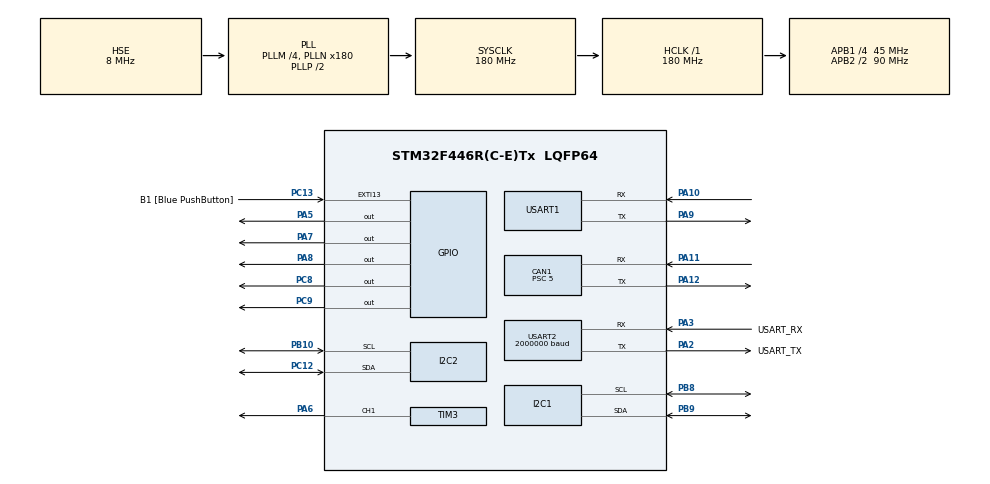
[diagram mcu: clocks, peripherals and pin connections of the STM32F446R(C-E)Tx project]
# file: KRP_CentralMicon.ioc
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CAN1.ABOM=ENABLE
CAN1.BS1=CAN_BS1_7TQ
CAN1.CalculateTimeQuantum=111.11111111111111
CAN1.NART=ENABLE
CAN1.Prescaler=5
CAN1.SJW=CAN_SJW_1TQ
CAN1.TXFP=ENABLE
Dma.Request0=USART2_RX
Dma.USART2_RX.0.Direction=DMA_PERIPH_TO_MEMORY
Dma.USART2_RX.0.FIFOMode=DMA_FIFOMODE_DISABLE
Dma.USART2_RX.0.Instance=DMA1_Stream5
Dma.USART2_RX.0.MemDataAlignment=DMA_MDATAALIGN_BYTE
Dma.USART2_RX.0.MemInc=DMA_MINC_ENABLE
Dma.USART2_RX.0.Mode=DMA_CIRCULAR
Dma.USART2_RX.0.PeriphDataAlignment=DMA_PDATAALIGN_BYTE
Dma.USART2_RX.0.PeriphInc=DMA_PINC_DISABLE
Dma.USART2_RX.0.Priority=DMA_PRIORITY_LOW
I2C2.I2C_Mode=I2C_Fast
Mcu.Family=STM32F4
Mcu.Name=STM32F446R(C-E)Tx
Mcu.Package=LQFP64
NVIC.CAN1_RX0_IRQn=true\:0\:2\:false\:false\:true\:true\:true
NVIC.CAN1_RX1_IRQn=true\:0\:2\:false\:false\:true\:true\:true
NVIC.CAN1_SCE_IRQn=true\:0\:0\:false\:false\:true\:true\:true
NVIC.DMA1_Stream5_IRQn=true\:0\:0\:false\:false\:true\:false\:true
NVIC.I2C1_ER_IRQn=true\:0\:0\:false\:false\:true\:true\:true
NVIC.I2C1_EV_IRQn=true\:0\:1\:false\:false\:true\:true\:true
NVIC.I2C2_EV_IRQn=true\:0\:0\:false\:false\:true\:true\:true
NVIC.PriorityGroup=NVIC_PRIORITYGROUP_0
NVIC.TIM3_IRQn=true\:0\:0\:false\:false\:true\:true\:true
NVIC.TIM6_DAC_IRQn=true\:0\:3\:false\:false\:true\:true\:true
NVIC.TIM7_IRQn=true\:0\:0\:false\:false\:true\:true\:true
NVIC.USART2_IRQn=true\:0\:0\:false\:false\:true\:true\:true
PA10.Mode=Asynchronous
PA10.Signal=USART1_RX
PA11.Mode=Master
PA11.Signal=CAN1_RX
PA12.Mode=Master
PA12.Signal=CAN1_TX
PA13.GPIO_Label=TMS
PA13.Mode=Serial_Wire
PA13.Signal=SYS_JTMS-SWDIO
PA14.GPIO_Label=TCK
PA14.Mode=Serial_Wire
PA14.Signal=SYS_JTCK-SWCLK
PA2.GPIO_Label=USART_TX
PA2.Mode=Asynchronous
PA2.Signal=USART2_TX
PA3.GPIO_Label=USART_RX
PA3.Mode=Asynchronous
PA3.Signal=USART2_RX
PA5.GPIO_ModeDefaultOutputPP=GPIO_MODE_OUTPUT_PP
PA5.GPIO_PuPd=GPIO_NOPULL
PA5.Signal=GPIO_Output
PA6.Signal=S_TIM3_CH1
PA7.Signal=GPIO_Output
PA8.Signal=GPIO_Output
PA9.Mode=Asynchronous
PA9.Signal=USART1_TX
PB10.Mode=I2C
PB10.Signal=I2C2_SCL
PB3.GPIO_Label=SWO
PB3.Signal=SYS_JTDO-SWO
PB8.Mode=I2C
PB8.Signal=I2C1_SCL
PB9.Mode=I2C
PB9.Signal=I2C1_SDA
PC12.Mode=I2C
PC12.Signal=I2C2_SDA
PC13.GPIO_Label=B1 [Blue PushButton]
PC13.GPIO_ModeDefaultEXTI=GPIO_MODE_IT_FALLING
PC13.Signal=GPXTI13
PC14-OSC32_IN.Mode=LSE-External-Oscillator
PC14-OSC32_IN.Signal=RCC_OSC32_IN
PC15-OSC32_OUT.Mode=LSE-External-Oscillator
PC15-OSC32_OUT.Signal=RCC_OSC32_OUT
PC8.Signal=GPIO_Output
PC9.Signal=GPIO_Output
PH0-OSC_IN.Mode=HSE-External-Oscillator
PH0-OSC_IN.Signal=RCC_OSC_IN
PH1-OSC_OUT.Mode=HSE-External-Oscillator
PH1-OSC_OUT.Signal=RCC_OSC_OUT
ProjectManager.HeapSize=0x200
ProjectManager.StackSize=0x400
ProjectManager.TargetToolchain=STM32CubeIDE
RCC.48MHZClocksFreq_Value=84000000
RCC.AHBFreq_Value=180000000
RCC.APB1CLKDivider=RCC_HCLK_DIV4
RCC.APB1Freq_Value=45000000
RCC.APB1TimFreq_Value=90000000
RCC.APB2CLKDivider=RCC_HCLK_DIV2
RCC.APB2Freq_Value=90000000
RCC.APB2TimFreq_Value=180000000
RCC.CortexFreq_Value=180000000
RCC.FLatency-AdvancedSettings=FLASH_LATENCY_5
RCC.HCLKFreq_Value=180000000
RCC.HSE_VALUE=8000000
RCC.HSI_VALUE=16000000
RCC.PLLM=4
RCC.PLLN=180
RCC.PLLSourceVirtual=RCC_PLLSOURCE_HSE
RCC.SYSCLKFreq_VALUE=180000000
RCC.SYSCLKSource=RCC_SYSCLKSOURCE_PLLCLK
RCC.USBFreq_Value=180000000
RCC.VCOOutputFreq_Value=360000000
SH.S_TIM3_CH1.0=TIM3_CH1,PWM Generation1 CH1
TIM3.Channel-PWM\ Generation1\ CH1=TIM_CHANNEL_1
USART1.Parity=PARITY_EVEN
USART1.VirtualMode=VM_ASYNC
USART1.WordLength=WORDLENGTH_9B
USART2.BaudRate=2000000
USART2.VirtualMode=VM_ASYNC
VP_TIM6_VS_ClockSourceINT.Mode=Enable_Timer
VP_TIM7_VS_ClockSourceINT.Mode=Enable_Timer
board=NUCLEO-F446RE

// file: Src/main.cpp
/* USER CODE BEGIN Header */
/**
  ******************************************************************************
  * @file           : main.c
  * @brief          : Main program body
  ******************************************************************************
  * @attention
  *
  * <h2><center>&copy; Copyright (c) 2019 STMicroelectronics.
  * All rights reserved.</center></h2>
  *
  * This software component is licensed by ST under BSD 3-Clause license,
  * the "License"; You may not use this file except in compliance with the
  * License. You may obtain a copy of the License at:
  *                        opensource.org/licenses/BSD-3-Clause
  *
  ******************************************************************************
  */
/* USER CODE END Header */

#include "main.h"
#include "can.h"
#include "i2c.h"
#include "tim.h"
#include "usart.h"
#include "gpio.h"

/* USER CODE BEGIN Includes */
#include "Libraries/LowlayerHandel.hpp"
#include "Libraries/InterruptIvent/TimerInterruptCallback.hpp"
#include "stm32f4xx_hal.h"
#include "stdio.h"
#include "Libraries/DefineOrder.h"
#include <stdio.h>

/* USER CODE END Includes */

/* USER CODE BEGIN PTD */

extern void FilterConfig();

extern bool intflag;
/* USER CODE END PTD */

/* USER CODE BEGIN PD */
LowlayerHandelTypedef *plow;

/* USER CODE END PD */

void SystemClock_Config(void);

int main(void)
{

  /* MCU Configuration--------------------------------------------------------*/

  /* Reset of all peripherals, Initializes the Flash interface and the Systick. */

  HAL_Init();

  /* Configure the system clock */
  SystemClock_Config();

  /* Initialize all configured peripherals */
  MX_GPIO_Init();
  MX_CAN1_Init();
  MX_USART1_UART_Init();
  MX_USART2_UART_Init();
  MX_TIM6_Init();
  MX_TIM7_Init();
  MX_I2C2_Init();
  MX_TIM3_Init();
  MX_I2C1_Init();
  /* USER CODE BEGIN 2 */
  LowlayerHandelTypedef hlow;
  plow = &hlow;
  FilterConfig();
  HAL_Delay(2000);
  Timer1 LoopInt(&htim6);
  LoopInt.SetLoopTime(5);
  LoopInt.Start();
  /* USER CODE END 2 */

  /* Infinite loop */
  while (1)
  {
    /* USER CODE BEGIN 3 */
    if (intflag)
    {
    }
  }
  /* USER CODE END 3 */
}

void SystemClock_Config(void)
{
  RCC_OscInitTypeDef RCC_OscInitStruct = {0};
  RCC_ClkInitTypeDef RCC_ClkInitStruct = {0};

  /** Configure the main internal regulator output voltage
  */
  __HAL_RCC_PWR_CLK_ENABLE();
  __HAL_PWR_VOLTAGESCALING_CONFIG(PWR_REGULATOR_VOLTAGE_SCALE1);
  /** Initializes the CPU, AHB and APB busses clocks
  */
  RCC_OscInitStruct.OscillatorType = RCC_OSCILLATORTYPE_HSE;
  RCC_OscInitStruct.HSEState = RCC_HSE_ON;
  RCC_OscInitStruct.PLL.PLLState = RCC_PLL_ON;
  RCC_OscInitStruct.PLL.PLLSource = RCC_PLLSOURCE_HSE;
  RCC_OscInitStruct.PLL.PLLM = 4;
  RCC_OscInitStruct.PLL.PLLN = 180;
  RCC_OscInitStruct.PLL.PLLP = RCC_PLLP_DIV2;
  RCC_OscInitStruct.PLL.PLLQ = 2;
  RCC_OscInitStruct.PLL.PLLR = 2;
  if (HAL_RCC_OscConfig(&RCC_OscInitStruct) != HAL_OK)
  {
    Error_Handler();
  }
  /** Activate the Over-Drive mode
  */
  if (HAL_PWREx_EnableOverDrive() != HAL_OK)
  {
    Error_Handler();
  }
  /** Initializes the CPU, AHB and APB busses clocks
  */
  RCC_ClkInitStruct.ClockType = RCC_CLOCKTYPE_HCLK | RCC_CLOCKTYPE_SYSCLK | RCC_CLOCKTYPE_PCLK1 | RCC_CLOCKTYPE_PCLK2;
  RCC_ClkInitStruct.SYSCLKSource = RCC_SYSCLKSOURCE_PLLCLK;
  RCC_ClkInitStruct.AHBCLKDivider = RCC_SYSCLK_DIV1;
  RCC_ClkInitStruct.APB1CLKDivider = RCC_HCLK_DIV4;
  RCC_ClkInitStruct.APB2CLKDivider = RCC_HCLK_DIV2;

  if (HAL_RCC_ClockConfig(&RCC_ClkInitStruct, FLASH_LATENCY_5) != HAL_OK)
  {
    Error_Handler();
  }
}

void Error_Handler(void)
{
  /* USER CODE BEGIN Error_Handler_Debug */
  /* User can add his own implementation to report the HAL error return state */
  printf("init error");
  /* USER CODE END Error_Handler_Debug */
}

/************************ (C) COPYRIGHT STMicroelectronics *****END OF FILE****/
